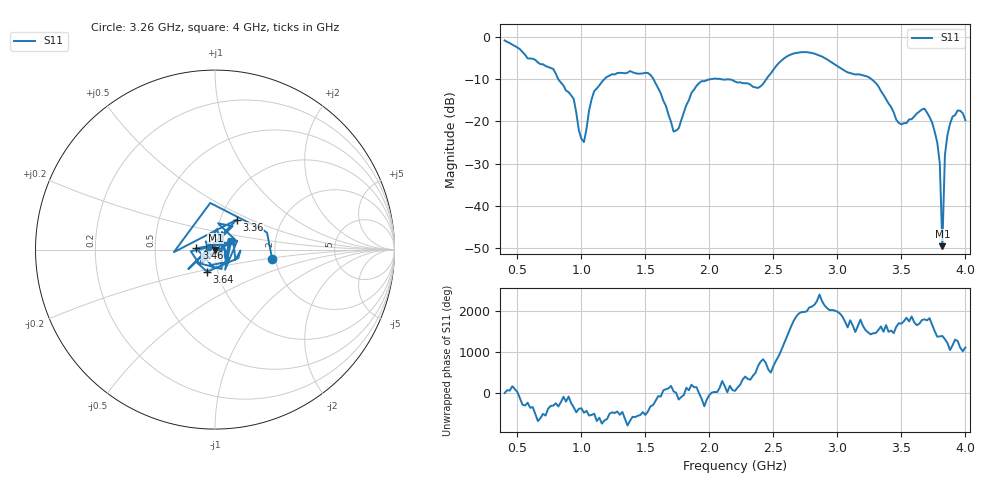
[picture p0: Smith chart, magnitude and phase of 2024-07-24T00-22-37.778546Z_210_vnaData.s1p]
!Created with skrf (http://scikit-rf.org).
# Hz S RI R 50.0
!freq ReS11 ImS11
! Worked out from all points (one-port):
!   181 points, 400 MHz to 4 GHz, reference 50 ohm
!   lowest |S11| = -49.6 dB at 3.82 GHz (marker M1), VSWR 1.01, Z = 50.2 - j0.245 ohm
!   |S11| at or under -10 dB: 819.5 MHz to 1.178 GHz (358.9 MHz wide, 35.9 % of centre); 1.564 GHz to 2.002 GHz (438.1 MHz wide, 24.6 % of centre); 3.267 GHz to end of sweep (the widest 3 of 4)
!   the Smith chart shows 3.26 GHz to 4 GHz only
!   S11 on the Smith chart (normalised r, x): 3.26 GHz: 1.92, -0.22; 3.36 GHz: 1.20, +0.42; 3.46 GHz: 0.81, +0.01; 3.64 GHz: 0.89, -0.22; 4 GHz: 1.19, +0.12
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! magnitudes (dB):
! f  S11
! 400 MHz  -0.8
! 860 MHz  -11.5
! 940 MHz  -14.7
! 980 MHz  -22.1
! 1.02 GHz  -24.9
! 1.1 GHz  -12.8
! 1.3 GHz  -8.5
! 1.54 GHz  -9.0
! 1.72 GHz  -22.4
! 1.76 GHz  -21.7
! 1.92 GHz  -10.9
! 2.2 GHz  -10.5
! 2.38 GHz  -12.1
! 2.66 GHz  -3.9
! 3.1 GHz  -8.5
! 3.26 GHz  -9.8
! 3.36 GHz  -13.7
! 3.46 GHz  -19.6
! 3.56 GHz  -19.5
! 3.64 GHz  -17.6
! 3.7 GHz  -17.9
! 3.78 GHz  -25.0
! 3.8 GHz  -30.0
! 3.82 GHz  -49.6
! 3.84 GHz  -27.9
! 3.86 GHz  -23.2
! 3.94 GHz  -17.4
! 4 GHz  -19.7
